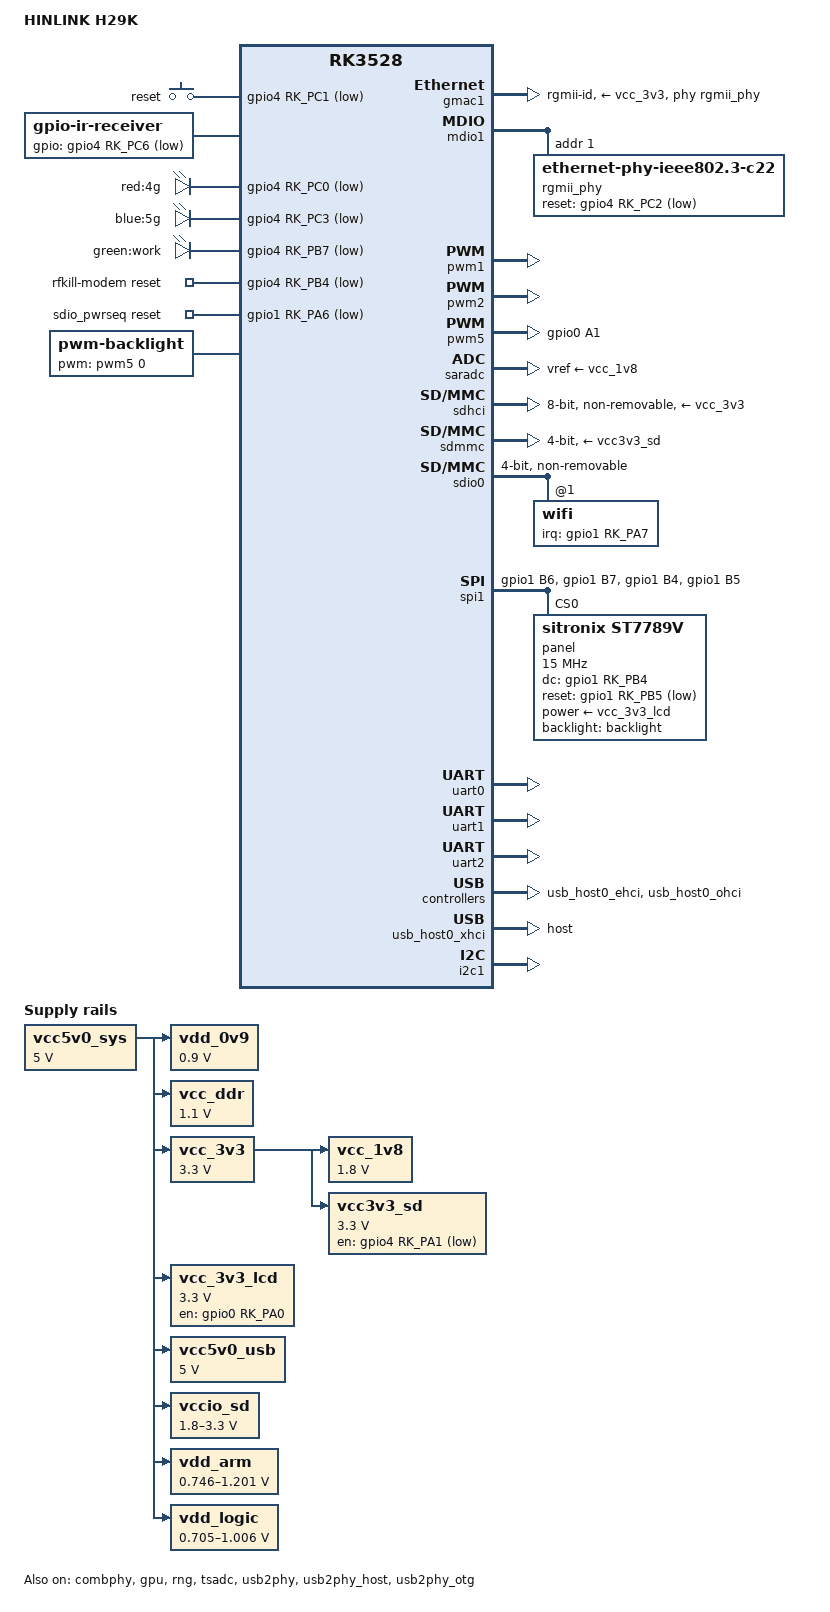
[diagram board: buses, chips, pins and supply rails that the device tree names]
/dts-v1/;

#include <dt-bindings/input/input.h>
#include <dt-bindings/leds/common.h>
#include <dt-bindings/pwm/pwm.h>
#include <dt-bindings/pinctrl/rockchip.h>
#include <dt-bindings/gpio/gpio.h>
#include "rk3528.dtsi"

/ {
	model = "HINLINK H29K";
	compatible = "hinlink,h29k", "rockchip,rk3528";

	aliases {
		ethernet0 = &gmac1;
		mmc0 = &sdhci;
		mmc1 = &sdmmc;
		mmc2 = &sdio0;
		serial0 = &uart0;
		serial1 = &uart1;
		serial2 = &uart2;

		led-boot = &led_work;
		led-failsafe = &led_work;
		led-running = &led_work;
		led-upgrade = &led_work;
	};

	chosen {
		stdout-path = "serial0:1500000n8";
		#address-cells = <2>;
		#size-cells = <2>;
		ranges;

		framebuffer: framebuffer@90000000 {
			compatible = "simple-framebuffer";
			reg = <0x0 0x90000000 0x0 0x00800000>;
			width = <1920>;
			height = <1080>;
			stride = <7680>;
			format = "a8r8g8b8";
			clocks = <&cru ACLK_VOP>, <&cru PCLK_HDMI>;
			status = "disabled";
		};
	};

	gpio-keys {
		compatible = "gpio-keys";
		pinctrl-names = "default";
		pinctrl-0 = <&key_reset_pin>;

		key-reset {
			label = "reset";
			gpios = <&gpio4 RK_PC1 GPIO_ACTIVE_LOW>;
			linux,code = <KEY_RESTART>;
			debounce-interval = <20>;
		};
	};

	ir-receiver {
		compatible = "gpio-ir-receiver";
		gpios = <&gpio4 RK_PC6 GPIO_ACTIVE_LOW>;
		pinctrl-names = "default";
		pinctrl-0 = <&ir_int_pin>;
	};

	leds {
		compatible = "gpio-leds";
		pinctrl-names = "default";
		pinctrl-0 = <&led_4g_en>, <&led_5g_en>, <&led_work_en>;

		led_4g: 4g {
			label = "red:4g";
			gpios = <&gpio4 RK_PC0 GPIO_ACTIVE_LOW>;
		};

		led_5g: 5g {
			label = "blue:5g";
			gpios = <&gpio4 RK_PC3 GPIO_ACTIVE_LOW>;
		};

		led_work: work {
			label = "green:work";
			gpios = <&gpio4 RK_PB7 GPIO_ACTIVE_LOW>;
		};
	};

	rfkill-modem {
		compatible = "rfkill-gpio";
		label = "rfkill-modem";
		radio-type = "wwan";
		reset-gpios = <&gpio4 RK_PB4 GPIO_ACTIVE_LOW>;
	};

	sdio_pwrseq: sdio-pwrseq {
		compatible = "mmc-pwrseq-simple";
		pinctrl-names = "default";
		pinctrl-0 = <&wifi_reg_on>;
		post-power-on-delay-ms = <100>;
		power-off-delay-us = <5000000>;
		reset-gpios = <&gpio1 RK_PA6 GPIO_ACTIVE_LOW>;
	};

	vdd_0v9: regulator-0v9-vdd {
		compatible = "regulator-fixed";
		regulator-name = "vdd_0v9";
		regulator-min-microvolt = <900000>;
		regulator-max-microvolt = <900000>;
		regulator-always-on;
		regulator-boot-on;
		vin-supply = <&vcc5v0_sys>;
	};

	vcc_ddr: regulator-1v1-vcc-ddr {
		compatible = "regulator-fixed";
		regulator-name = "vcc_ddr";
		regulator-min-microvolt = <1100000>;
		regulator-max-microvolt = <1100000>;
		regulator-always-on;
		regulator-boot-on;
		vin-supply = <&vcc5v0_sys>;
	};

	vcc_1v8: regulator-1v8-vcc {
		compatible = "regulator-fixed";
		regulator-name = "vcc_1v8";
		regulator-min-microvolt = <1800000>;
		regulator-max-microvolt = <1800000>;
		regulator-always-on;
		regulator-boot-on;
		vin-supply = <&vcc_3v3>;
	};

	vcc_3v3: regulator-3v3-vcc {
		compatible = "regulator-fixed";
		regulator-name = "vcc_3v3";
		regulator-min-microvolt = <3300000>;
		regulator-max-microvolt = <3300000>;
		regulator-always-on;
		regulator-boot-on;
		vin-supply = <&vcc5v0_sys>;
	};

	vcc_3v3_lcd: regulator-3v3-lcd {
		compatible = "regulator-fixed";
		regulator-name = "vcc_3v3_lcd";
		regulator-min-microvolt = <3300000>;
		regulator-max-microvolt = <3300000>;
		gpios = <&gpio0 RK_PA0 GPIO_ACTIVE_HIGH>;
		enable-active-high;
		pinctrl-names = "default";
		pinctrl-0 = <&lcd_pwr_pin>;
		regulator-always-on;
		vin-supply = <&vcc5v0_sys>;
	};

	vcc3v3_sd: regulator-3v3-vcc-sd {
		compatible = "regulator-fixed";
		regulator-name = "vcc3v3_sd";
		regulator-min-microvolt = <3300000>;
		regulator-max-microvolt = <3300000>;
		gpios = <&gpio4 RK_PA1 GPIO_ACTIVE_LOW>;
		pinctrl-names = "default";
		pinctrl-0 = <&sdmmc_pwren_l>;
		vin-supply = <&vcc_3v3>;
	};

	vcc5v0_sys: regulator-5v0-vcc-sys {
		compatible = "regulator-fixed";
		regulator-name = "vcc5v0_sys";
		regulator-min-microvolt = <5000000>;
		regulator-max-microvolt = <5000000>;
		regulator-always-on;
		regulator-boot-on;
	};

	vcc5v0_usb: regulator-5v0-vcc-usb {
		compatible = "regulator-fixed";
		regulator-name = "vcc5v0_usb";
		regulator-min-microvolt = <5000000>;
		regulator-max-microvolt = <5000000>;
		regulator-always-on;
		regulator-boot-on;
		vin-supply = <&vcc5v0_sys>;
	};

	vccio_sd: regulator-vccio-sd {
		compatible = "regulator-gpio";
		regulator-name = "vccio_sd";
		regulator-min-microvolt = <1800000>;
		regulator-max-microvolt = <3300000>;
		gpios = <&gpio4 RK_PB6 GPIO_ACTIVE_HIGH>;
		pinctrl-names = "default";
		pinctrl-0 = <&sdmmc_vol_ctrl_h>;
		states = <1800000 0x0>, <3300000 0x1>;
		vin-supply = <&vcc5v0_sys>;
	};

	vdd_arm: regulator-vdd-arm {
		compatible = "pwm-regulator";
		regulator-name = "vdd_arm";
		regulator-min-microvolt = <746000>;
		regulator-max-microvolt = <1201000>;
		pwms = <&pwm1 0 5000 PWM_POLARITY_INVERTED>;
		pwm-supply = <&vcc5v0_sys>;
		regulator-always-on;
		regulator-boot-on;
		regulator-settling-time-up-us = <250>;
		regulator-pwm-continuous;
	};

	vdd_logic: regulator-vdd-logic {
		compatible = "pwm-regulator";
		regulator-name = "vdd_logic";
		regulator-min-microvolt = <705000>;
		regulator-max-microvolt = <1006000>;
		pwms = <&pwm2 0 5000 PWM_POLARITY_INVERTED>;
		pwm-supply = <&vcc5v0_sys>;
		regulator-always-on;
		regulator-boot-on;
		regulator-settling-time-up-us = <250>;
		regulator-pwm-continuous;
	};

	backlight: backlight {
		compatible = "pwm-backlight";
		pwms = <&pwm5 0 5000000 0>;
		brightness-levels = <
			0 16 32 48 64 80 96 112 128 144 160 176 192 208 224 240 255
		>;
		default-brightness-level = <15>;
	};
};

&combphy {
	status = "okay";
};

&cpu0 {
	cpu-supply = <&vdd_arm>;
};

&cpu1 {
	cpu-supply = <&vdd_arm>;
};

&cpu2 {
	cpu-supply = <&vdd_arm>;
};

&cpu3 {
	cpu-supply = <&vdd_arm>;
};

&gmac1 {
	clock_in_out = "output";
	phy-handle = <&rgmii_phy>;
	phy-mode = "rgmii-id";
	phy-supply = <&vcc_3v3>;
	pinctrl-names = "default";
	pinctrl-0 = <&rgmii_miim &rgmii_tx_bus2 &rgmii_rx_bus2 &rgmii_rgmii_clk &rgmii_rgmii_bus>;
	status = "okay";
};

&gpu {
	mali-supply = <&vdd_logic>;
	status = "okay";
};

&mdio1 {
	rgmii_phy: ethernet-phy@1 {
		compatible = "ethernet-phy-ieee802.3-c22";
		reg = <0x1>;
		reset-assert-us = <20000>;
		reset-deassert-us = <100000>;
		reset-gpios = <&gpio4 RK_PC2 GPIO_ACTIVE_LOW>;
		pinctrl-names = "default";
		pinctrl-0 = <&gmac1_rstn_l>;
	};
};

&pinctrl {
	gmac {
		gmac1_rstn_l: gmac1-rstn-l {
			rockchip,pins = <4 RK_PC2 RK_FUNC_GPIO &pcfg_pull_none>;
		};
	};

	ir {
		ir_int_pin: ir-int-pin {
			rockchip,pins = <4 RK_PC6 RK_FUNC_GPIO &pcfg_pull_up>;
		};
	};

	keys {
		key_reset_pin: key-reset-pin {
			rockchip,pins = <4 RK_PC1 RK_FUNC_GPIO &pcfg_pull_up>;
		};
	};

	leds {
		led_4g_en: led-4g-en {
			rockchip,pins = <4 RK_PC0 RK_FUNC_GPIO &pcfg_pull_none>;
		};
		led_5g_en: led-5g-en {
			rockchip,pins = <4 RK_PC3 RK_FUNC_GPIO &pcfg_pull_none>;
		};
		led_work_en: led-work-en {
			rockchip,pins = <4 RK_PB7 RK_FUNC_GPIO &pcfg_pull_none>;
		};
	};

	sdmmc {
		sdmmc_pwren_l: sdmmc-pwren-l {
			rockchip,pins = <4 RK_PA1 RK_FUNC_GPIO &pcfg_pull_none>;
		};
		sdmmc_vol_ctrl_h: sdmmc-vol-ctrl-h {
			rockchip,pins = <4 RK_PB6 RK_FUNC_GPIO &pcfg_pull_none>;
		};
	};

	spi1 {
		spi1_pins: spi1-pins {
			rockchip,pins =
				<1 RK_PB6 2 &pcfg_pull_none_drv_level_2>,
				<1 RK_PB7 2 &pcfg_pull_none_drv_level_2>;
		};
		lcd_rs_pin: lcd-rs-pin {
			rockchip,pins = <1 RK_PB4 RK_FUNC_GPIO &pcfg_pull_up>;
		};
		lcd_rst_pin: lcd-rst-pin {
			rockchip,pins = <1 RK_PB5 RK_FUNC_GPIO &pcfg_pull_up>;
		};
	};

	wifi {
		wifi_reg_on: wifi-reg-on {
			rockchip,pins = <1 RK_PA6 RK_FUNC_GPIO &pcfg_pull_none>;
		};
		wl_wake_host: wl-wake-host {
			rockchip,pins = <1 RK_PA7 RK_FUNC_GPIO &pcfg_pull_down>;
		};
	};

	lcd {
		lcd_pwr_pin: lcd-pwr-pin {
			rockchip,pins = <0 RK_PA0 RK_FUNC_GPIO &pcfg_pull_none_drv_level_2>;
		};
		lcd_bl_pin: lcd-bl-pin {
			rockchip,pins = <0 RK_PA1 RK_FUNC_PWM5 &pcfg_pull_none_drv_level_2>;
		};
	};
};

&pwm1 {
	pinctrl-names = "default";
	pinctrl-0 = <&pwm1m0_pins>;
	status = "okay";
};

&pwm2 {
	pinctrl-names = "default";
	pinctrl-0 = <&pwm2m0_pins>;
	status = "okay";
};

&pwm5 {
	pinctrl-names = "default";
	pinctrl-0 = <&lcd_bl_pin>;
	status = "okay";
};

&rng {
	status = "okay";
};

&saradc {
	vref-supply = <&vcc_1v8>;
	status = "okay";
};

&sdhci {
	bus-width = <8>;
	mmc-hs200-1_8v;
	max-frequency = <200000000>;
	non-removable;
	vmmc-supply = <&vcc_3v3>;
	vqmmc-supply = <&vcc_1v8>;
	pinctrl-names = "default";
	pinctrl-0 = <&emmc_bus8 &emmc_clk &emmc_cmd &emmc_strb>;
	status = "okay";
};

&sdmmc {
	bus-width = <4>;
	cap-sd-highspeed;
	disable-wp;
	max-frequency = <150000000>;
	rockchip,default-sample-phase = <90>;
	sd-uhs-sdr104;
	vmmc-supply = <&vcc3v3_sd>;
	vqmmc-supply = <&vccio_sd>;
	pinctrl-names = "default";
	pinctrl-0 = <&sdmmc_bus4 &sdmmc_clk &sdmmc_cmd &sdmmc_det>;
	status = "okay";
};

&sdio0 {
	#address-cells = <1>;
	#size-cells = <0>;
	bus-width = <4>;
	cap-sd-highspeed;
	cap-sdio-irq;
	keep-power-in-suspend;
	max-frequency = <200000000>;
	mmc-pwrseq = <&sdio_pwrseq>;
	non-removable;
	sd-uhs-sdr104;
	pinctrl-names = "default";
	pinctrl-0 = <&sdio0_bus4 &sdio0_cmd &sdio0_clk>;
	status = "okay";

	wifi@1 {
		reg = <1>;
		interrupt-parent = <&gpio1>;
		interrupts = <RK_PA7 IRQ_TYPE_LEVEL_HIGH>;
		interrupt-names = "host-wake";
		pinctrl-names = "default";
		pinctrl-0 = <&wl_wake_host>;
	};
};

&spi1 {
	pinctrl-names = "default";
	pinctrl-0 = <&spi1_pins>, <&lcd_rs_pin>, <&lcd_rst_pin>;
	status = "okay";

	panel@0 {
		compatible = "sitronix,st7789v";
		reg = <0>;
		dc-gpios = <&gpio1 RK_PB4 GPIO_ACTIVE_HIGH>;
		backlight = <&backlight>;
		spi-max-frequency = <15000000>;
		power-supply = <&vcc_3v3_lcd>;
		reset-gpios = <&gpio1 RK_PB5 GPIO_ACTIVE_LOW>;
	};
};

&tsadc {
	status = "okay";
};

&uart0 {
	pinctrl-names = "default";
	pinctrl-0 = <&uart0m0_xfer>;
	status = "okay";
};

&uart1 {
	pinctrl-names = "default";
	pinctrl-0 = <&uart1m0_xfer>;
	status = "okay";
};

&uart2 {
	pinctrl-names = "default";
	pinctrl-0 = <&uart2m0_xfer>;
	status = "okay";
};

&usb2phy {
	status = "okay";
};

&usb2phy_host {
	phy-supply = <&vcc5v0_usb>;
	status = "okay";
};

&usb2phy_otg {
	phy-supply = <&vcc5v0_usb>;
	status = "okay";
};

&usb_host0_ehci {
	status = "okay";
};

&usb_host0_ohci {
	status = "okay";
};

&usb_host0_xhci {
	dr_mode = "host";
	status = "okay";
};

&i2c1 {
	status = "okay";
};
